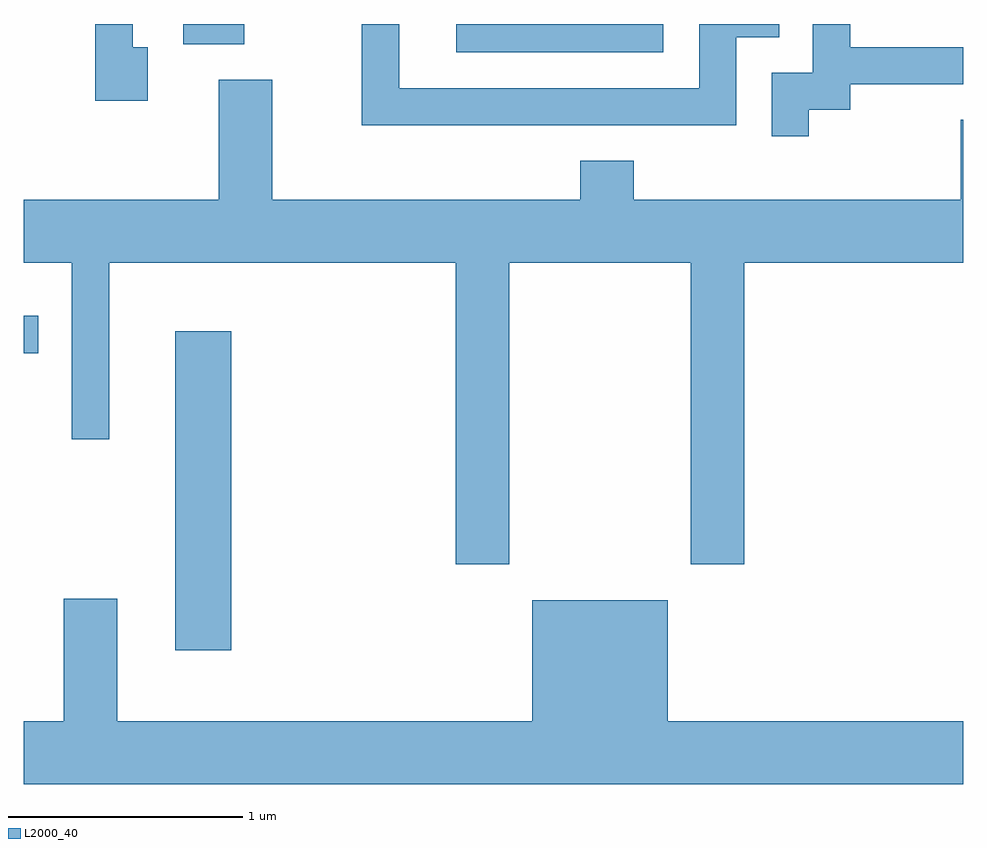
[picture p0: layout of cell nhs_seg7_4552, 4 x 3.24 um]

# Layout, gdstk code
import gdstk
lib = gdstk.Library(unit=1e-6, precision=1e-09)
def R(c, l, rs):  # rectangles x0, y0, x1, y1
    for r in rs: c.add(gdstk.rectangle(r[:2], r[2:], *l))
def P(c, l, *ps):  # polygons
    for p in ps: c.add(gdstk.Polygon(p, *l))
L2000_40 = (2000, 40)

nhs_seg7_4552 = lib.new_cell('nhs_seg7_4552')
R(nhs_seg7_4552, L2000_40, [(326.256,1681.586,326.494,1682.944), (325.611,1682.851,325.673,1683.009), (327.453,1684.131,328.334,1684.252), (326.291,1684.166,326.549,1684.252)])
P(nhs_seg7_4552, L2000_40, [(328.644,1684.196),(328.828,1684.196),(328.828,1684.252),(328.486,1684.252),(328.486,1683.979),(327.209,1683.979),(327.209,1684.252),(327.051,1684.252),(327.051,1683.821),(328.644,1683.821)],
  [(326.139,1684.154),(326.074,1684.154),(326.074,1684.252),(325.916,1684.252),(325.916,1683.926),(326.139,1683.926)],
  [(328.954,1683.886),(329.129,1683.886),(329.129,1683.996),(329.611,1683.996),(329.611,1684.154),(329.129,1684.154),(329.129,1684.252),(328.971,1684.252),(328.971,1684.044),(328.796,1684.044),(328.796,1683.773),(328.954,1683.773)],
  [(327.679,1683.236),(328.451,1683.236),(328.451,1681.951),(328.679,1681.951),(328.679,1683.236),(329.611,1683.236),(329.611,1683.844),(329.601,1683.844),(329.601,1683.504),(328.209,1683.504),(328.209,1683.669),(327.981,1683.669),(327.981,1683.504),(326.669,1683.504),(326.669,1684.014),(326.441,1684.014),(326.441,1683.504),(325.611,1683.504),(325.611,1683.236),(325.816,1683.236),(325.816,1682.483),(325.974,1682.483),(325.974,1683.236),(327.451,1683.236),(327.451,1681.951),(327.679,1681.951)],
  [(329.611,1681.284),(328.354,1681.284),(328.354,1681.799),(327.776,1681.799),(327.776,1681.284),(326.009,1681.284),(326.009,1681.804),(325.781,1681.804),(325.781,1681.284),(325.611,1681.284),(325.611,1681.016),(329.611,1681.016)])

lib.write_gds('nhs_seg7_4552.gds')
